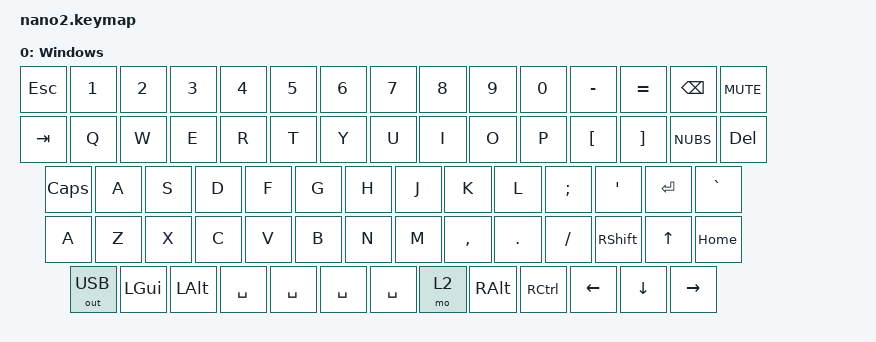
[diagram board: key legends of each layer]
// This file was generated from a template. Edit it to match your keyboard.
// See https://zmk.dev/docs/development/hardware-integration/new-shield for more instructions.

#include <behaviors.dtsi>
#include <dt-bindings/zmk/keys.h>
#include <dt-bindings/zmk/outputs.h>

/ {
    // Define a default keymap here.
    // See https://zmk.dev/docs/development/hardware-integration/new-shield#default-keymap.
    keymap {
        compatible = "zmk,keymap";

        default_layer {
            display-name = "Windows";
            bindings = <
                &kp ESC &kp N1 &kp N2 &kp N3 &kp N4 &kp N5 &kp N6       &kp N7 &kp N8 &kp N9 &kp N0 &kp MINUS &kp EQUAL &kp BSPC &kp C_MUTE // 15 
                &kp TAB       &kp Q &kp W &kp E &kp R &kp T             &kp Y  &kp U &kp I &kp O &kp P &kp LBKT &kp RBKT &kp NUBS &kp DEL // 15
                &kp CAPS      &kp A &kp S &kp D &kp F &kp G             &kp H  &kp J &kp K &kp L &kp SEMI &kp SQT &kp ENTER  &kp GRAVE // 14
                &kp A    &kp Z &kp X &kp C &kp V &kp B             &kp N  &kp M &kp COMMA &kp DOT &kp FSLH &kp RSHIFT &kp UP &kp HOME // 14
                &out OUT_USB  &kp LGUI &kp LALT  &kp SPACE &kp SPACE       &kp SPACE &kp SPACE &mo 2 &kp RALT &kp RCTRL &kp LEFT &kp DOWN &kp RIGHT   // 13
                >;
        };
    };
};
